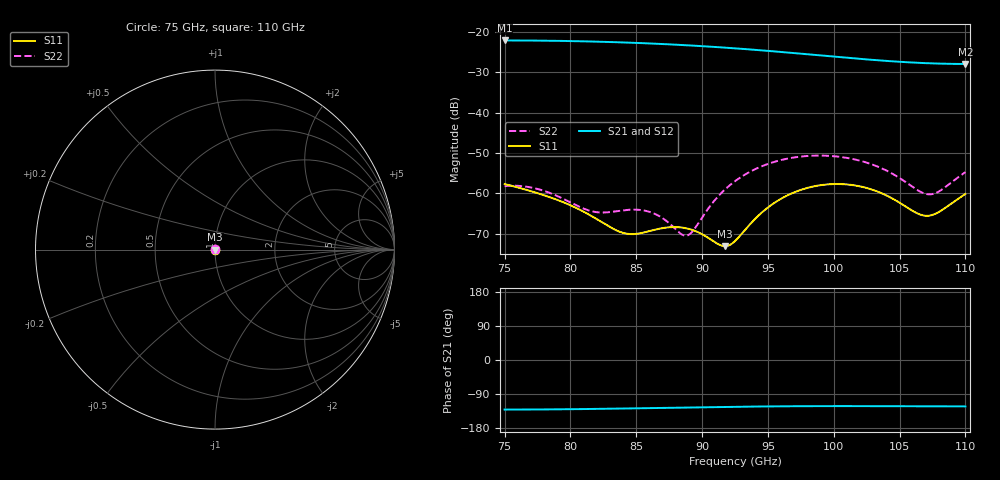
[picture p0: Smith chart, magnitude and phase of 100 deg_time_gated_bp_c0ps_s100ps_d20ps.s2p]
# Hz S RI R 50.000000
! Metas.Vna.Tools, 2.4.7724.19584
! Metas.Vna.Data, 2.4.7724.19560
! Created: UTC 2021.04.29 12:40:11
! FREQ  re:S1,1  im:S1,1  re:S2,1  im:S2,1  re:S1,2  im:S1,2  re:S2,2  im:S2,2
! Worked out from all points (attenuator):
!   1401 points, 75 GHz to 110 GHz, reference 50 ohm
!   highest |S21| = -22.11 dB at 75 GHz (marker M1); lowest = -27.9 dB at 110 GHz (marker M2)
!   lowest |S11| = -73.1 dB at 91.75 GHz (marker M3), VSWR 1.00, Z = 50 - j0.0029 ohm
!   |S11| at or under -10 dB: start of sweep to end of sweep
!   |S22| runs from -70.5 to -50.6 dB; largest |S21 - S12| = 0.0036
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7.5e10  0.00115 -0.000623  -0.0513 -0.0594  -0.0531 -0.0578  5.88e-05 0.00123
7.7625e10  0.000483 -0.000868  -0.0507 -0.0593  -0.0526 -0.0577  -0.000263 0.00109
8.085e10  -0.000181 -0.000585  -0.0488 -0.0591  -0.0507 -0.0575  -0.000577 0.000331
8.2225e10  -0.000311 -0.000334  -0.0476 -0.0588  -0.0495 -0.0573  -0.00058 -4.1e-05
8.41e10  -0.000321 2.23e-05  -0.0456 -0.0584  -0.0476 -0.0568  -0.000448 -0.00043
8.55e10  -0.000226 0.000236  -0.0439 -0.0578  -0.046 -0.0563  -0.000269 -0.000556
8.6675e10  -0.000107 0.000347  -0.0424 -0.0572  -0.0445 -0.0557  -8.81e-05 -0.000525
8.84e10  7.64e-05 0.000372  -0.0401 -0.0561  -0.0423 -0.0546  0.000197 -0.000246
8.89e10  0.000122 0.000346  -0.0394 -0.0558  -0.0417 -0.0542  0.000279 -0.000118
8.9325e10  0.000155 0.000314  -0.0389 -0.0554  -0.0411 -0.0539  0.000347 4.61e-06
9.175e10  0.00022 -2.9e-05  -0.0355 -0.0531  -0.0379 -0.0516  0.000702 0.000877
9.25e10  0.000191 -0.000173  -0.0345 -0.0523  -0.0369 -0.0507  0.000798 0.00117
9.4125e10  4.97e-05 -0.000499  -0.0324 -0.0503  -0.0349 -0.0487  0.000986 0.00178
9.5325e10  -0.000105 -0.000725  -0.0309 -0.0487  -0.0335 -0.0471  0.00111 0.00215
9.6775e10  -0.000319 -0.000944  -0.0292 -0.0467  -0.0319 -0.0451  0.00123 0.00247
9.835e10  -0.00054 -0.00108  -0.0275 -0.0445  -0.0302 -0.0428  0.00132 0.00262
1.01325e11  -0.000782 -0.00101  -0.0249 -0.0403  -0.0277 -0.0385  0.00125 0.00239
1.04175e11  -0.000725 -0.000557  -0.023 -0.037  -0.026 -0.0351  0.000714 0.00172
1.0635e11  -0.000565 -4.47e-05  -0.0221 -0.0351  -0.0251 -0.0332  -7.14e-05 0.0011
1.0725e11  -0.000495 0.000191  -0.0218 -0.0346  -0.0248 -0.0326  -0.000476 0.00085
1.0805e11  -0.00044 0.000404  -0.0217 -0.0342  -0.0247 -0.0323  -0.000861 0.00064
1.1e11  -0.000357 0.000918  -0.0215 -0.0339  -0.0245 -0.0319  -0.00182 0.000194
